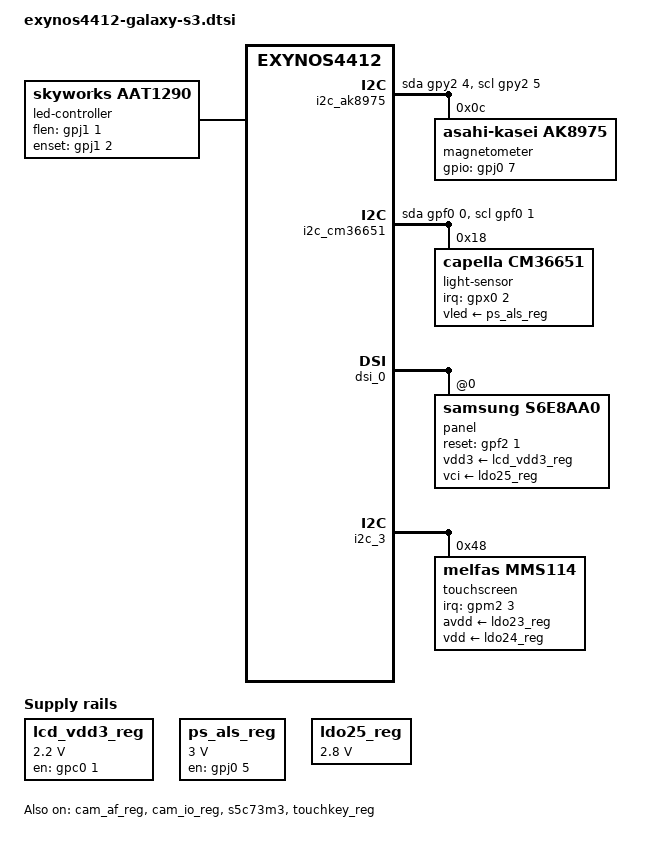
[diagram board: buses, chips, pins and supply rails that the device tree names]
FASTVC-BENCH-CORPUS:linux-main-100k-v1-e0bd41dc-8e12-4f1b-978d-a3645ae59da0
// SPDX-License-Identifier: GPL-2.0
/*
 * Samsung's Exynos4412 based Galaxy S3 board device tree source
 *
 * Copyright (c) 2013 Samsung Electronics Co., Ltd.
 *		http://www.samsung.com
 */

/dts-v1/;
#include "exynos4412-midas.dtsi"

/ {
	aliases {
		i2c9 = &i2c_ak8975;
		i2c10 = &i2c_cm36651;
	};

	led-controller {
		compatible = "skyworks,aat1290";
		flen-gpios = <&gpj1 1 GPIO_ACTIVE_HIGH>;
		enset-gpios = <&gpj1 2 GPIO_ACTIVE_HIGH>;

		pinctrl-names = "default", "host", "isp";
		pinctrl-0 = <&camera_flash_host>;
		pinctrl-1 = <&camera_flash_host>;
		pinctrl-2 = <&camera_flash_isp>;

		flash-led {
			label = "flash";
			led-max-microamp = <520833>;
			flash-max-microamp = <1012500>;
			flash-max-timeout-us = <1940000>;
		};
	};

	lcd_vdd3_reg: voltage-regulator-10 {
		compatible = "regulator-fixed";
		regulator-name = "LCD_VDD_2.2V";
		regulator-min-microvolt = <2200000>;
		regulator-max-microvolt = <2200000>;
		gpio = <&gpc0 1 GPIO_ACTIVE_HIGH>;
		enable-active-high;
	};

	ps_als_reg: voltage-regulator-11 {
		compatible = "regulator-fixed";
		regulator-name = "LED_A_3.0V";
		regulator-min-microvolt = <3000000>;
		regulator-max-microvolt = <3000000>;
		gpio = <&gpj0 5 GPIO_ACTIVE_HIGH>;
		enable-active-high;
	};

	i2c_ak8975: i2c-gpio-0 {
		compatible = "i2c-gpio";
		sda-gpios = <&gpy2 4 (GPIO_ACTIVE_HIGH | GPIO_OPEN_DRAIN)>;
		scl-gpios = <&gpy2 5 (GPIO_ACTIVE_HIGH | GPIO_OPEN_DRAIN)>;
		i2c-gpio,delay-us = <2>;
		#address-cells = <1>;
		#size-cells = <0>;

		magnetometer@c {
			compatible = "asahi-kasei,ak8975";
			reg = <0x0c>;
			gpios = <&gpj0 7 GPIO_ACTIVE_HIGH>;
		};
	};

	i2c_cm36651: i2c-gpio-2 {
		compatible = "i2c-gpio";
		sda-gpios = <&gpf0 0 (GPIO_ACTIVE_HIGH | GPIO_OPEN_DRAIN)>;
		scl-gpios = <&gpf0 1 (GPIO_ACTIVE_HIGH | GPIO_OPEN_DRAIN)>;
		i2c-gpio,delay-us = <2>;
		#address-cells = <1>;
		#size-cells = <0>;
/* bench 734.1.0 79aeabfa639f */
/* bench 734.1.1 7850d8bda1ac */
/* bench 734.1.2 523399a22dd0 */
/* bench 29453.0.0 5f63ec191d28 */
/* bench 29453.0.1 120a5b9e0192 */
/* bench 29453.0.2 c1ef339310b6 */
/* bench 29453.0.3 17f562f7be66 */
/* bench 29453.0.4 da2151286e6c */
/* bench 29453.0.5 2b22b28580c0 */
/* bench 29453.0.6 54845f7f53ee */
/* bench 29453.0.7 05fc2e91c054 */
/* bench 29453.0.8 c5f68dd90a13 */
/* bench 734.1.4 eb0c1128e290 */
/* bench 734.1.5 7cc4eb2ec30e */
/* bench 734.1.6 92110c71571e */
/* bench 734.1.7 bd1973733f82 */
/* bench 734.1.8 bcb0f5a73f2e */
/* bench 734.1.9 e1a6914a713c */
/* bench 734.1.10 c7ab64e8848c */
/* bench 734.1.11 917b21d443b8 */
/* bench 734.1.12 cc9405ef4024 */

		light-sensor@18 {
			compatible = "capella,cm36651";
			reg = <0x18>;
			interrupt-parent = <&gpx0>;
			interrupts = <2 IRQ_TYPE_EDGE_FALLING>;
			vled-supply = <&ps_als_reg>;
		};
	};
};

&buck9_reg {
	maxim,ena-gpios = <&gpm0 3 GPIO_ACTIVE_HIGH>;
};

&cam_af_reg {
	gpio = <&gpm0 4 GPIO_ACTIVE_HIGH>;
	status = "okay";
};

&cam_io_reg {
	gpio = <&gpm0 2 GPIO_ACTIVE_HIGH>;
	status = "okay";
};

&dsi_0 {
	status = "okay";

	panel@0 {
		compatible = "samsung,s6e8aa0";
		reg = <0>;
		vdd3-supply = <&lcd_vdd3_reg>;
		vci-supply = <&ldo25_reg>;
		reset-gpios = <&gpf2 1 GPIO_ACTIVE_HIGH>;
		power-on-delay= <50>;
		reset-delay = <100>;
		init-delay = <100>;
		flip-horizontal;
		flip-vertical;
		panel-width-mm = <58>;
		panel-height-mm = <103>;

		display-timings {
			timing-0 {
				clock-frequency = <57153600>;
				hactive = <720>;
				vactive = <1280>;
				hfront-porch = <5>;
				hback-porch = <5>;
				hsync-len = <5>;
				vfront-porch = <13>;
				vback-porch = <1>;
				vsync-len = <2>;
			};
		};
	};
};

&i2c_3 {
	touchscreen@48 {
		compatible = "melfas,mms114";
		reg = <0x48>;
		interrupt-parent = <&gpm2>;
		interrupts = <3 IRQ_TYPE_EDGE_FALLING>;
		touchscreen-size-x = <720>;
		touchscreen-size-y = <1280>;
		avdd-supply = <&ldo23_reg>;
		vdd-supply = <&ldo24_reg>;
	};
};

&ldo25_reg {
	regulator-name = "LCD_VCC_3.3V";
	regulator-min-microvolt = <2800000>;
	regulator-max-microvolt = <2800000>;
};

&pinctrl_0 {
	camera_flash_host: camera-flash-host {
		samsung,pins = "gpj1-0";
		samsung,pin-function = <EXYNOS_PIN_FUNC_OUTPUT>;
		samsung,pin-val = <0>;
	};

	camera_flash_isp: camera-flash-isp {
		samsung,pins = "gpj1-0";
		samsung,pin-function = <EXYNOS_PIN_FUNC_OUTPUT>;
		samsung,pin-val = <1>;
	};
};

&s5c73m3 {
	standby-gpios = <&gpm0 1 GPIO_ACTIVE_LOW>;   /* ISP_STANDBY */
	vdda-supply = <&ldo17_reg>;
	status = "okay";
};

&sound {
	samsung,audio-routing =
		"HP", "HPOUT1L",
		"HP", "HPOUT1R",

		"SPK", "SPKOUTLN",
		"SPK", "SPKOUTLP",
		"SPK", "SPKOUTRN",
		"SPK", "SPKOUTRP",

/* bench 2639.2.0 7f7348d6d5c8 */
/* bench 2639.2.1 d24c838fe43a */
/* bench 2639.2.2 6bc33dc9f672 */
/* bench 2639.2.3 1019b3a37f62 */
/* bench 2639.2.4 6ac788fffe55 */
/* bench 2639.2.5 728849170918 */
/* bench 2639.2.6 5f9412c9810d */
/* bench 2639.2.7 f266a7aa72af */
/* bench 2639.2.8 f0a791ec6047 */
		"RCV", "HPOUT2N",
		"RCV", "HPOUT2P",

		"HDMI", "LINEOUT1N",
		"HDMI", "LINEOUT1P",

		"LINE", "LINEOUT2N",
		"LINE", "LINEOUT2P",

		"IN1LP", "MICBIAS1",
/* bench 9630.0.0 ad10a170b8ae */
/* bench 9630.0.1 12f035ebe848 */
/* bench 9630.0.2 7652b237d3ee */
/* bench 9630.0.3 86966b80ea60 */
/* bench 9630.0.4 64256bb99467 */
/* bench 9630.0.5 4674f1a6aed7 */
/* bench 9630.0.6 872bbcfe4626 */
/* bench 9630.0.7 1a4cb4677ba6 */
/* bench 9630.0.8 f949a60fec15 */
/* bench 9630.0.9 4d76073f6a06 */
/* bench 9630.0.10 5e8db5b73fc3 */
/* bench 9630.0.11 4505810b55d8 */
/* bench 9630.0.12 ce985dd3302d */
/* bench 9630.0.13 f872217f8b37 */
/* bench 9630.0.14 84005800cb3d */
/* bench 9630.0.15 75fecc199406 */

		"IN1RP", "Sub Mic",
		"IN1RN", "Sub Mic",

		"IN2LP:VXRN", "MICBIAS2",
		"Headset Mic", "MICBIAS2",

		"IN2RN", "FM In",
		"IN2RP:VXRP", "FM In";
};

&submic_bias_reg {
	gpio = <&gpf2 0 GPIO_ACTIVE_HIGH>;
	enable-active-high;
};

&touchkey_reg {
	gpio = <&gpm0 0 GPIO_ACTIVE_HIGH>;
	status = "okay";
};
